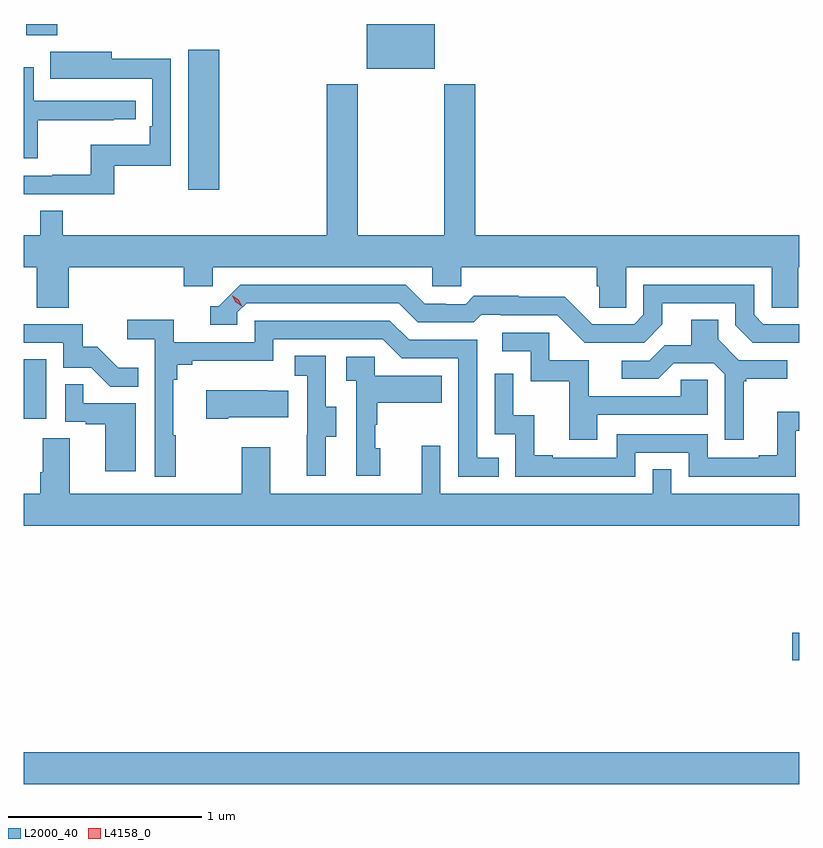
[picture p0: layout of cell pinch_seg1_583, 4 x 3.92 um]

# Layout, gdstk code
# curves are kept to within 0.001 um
import gdstk
lib = gdstk.Library(unit=1e-6, precision=1e-09)
def R(c, l, rs):  # rectangles x0, y0, x1, y1
    for r in rs: c.add(gdstk.rectangle(r[:2], r[2:], *l))
def P(c, l, *ps):  # polygons
    for p in ps: c.add(gdstk.Polygon(p, *l))
L2000_40 = (2000, 40)
L4158_0 = (4158, 0)

pinch_seg1_583 = lib.new_cell('pinch_seg1_583')
R(pinch_seg1_583, L2000_40, [(1018.514,509.108,1022.514,509.272), (1022.478,509.746,1022.514,509.888), (1018.514,510.99,1018.63,511.297), (1019.363,512.172,1019.524,512.893), (1020.284,512.795,1020.634,513.026), (1018.528,512.969,1018.688,513.026)])
P(pinch_seg1_583, L2000_40, [(1018.981,512.295),(1019.274,512.295),(1019.274,512.846),(1018.969,512.846),(1018.969,512.884),(1018.651,512.884),(1018.651,512.744),(1018.865,512.744),(1018.865,512.745),(1019.178,512.745),(1019.178,512.5),(1019.165,512.5),(1019.165,512.404),(1018.86,512.404),(1018.86,512.249),(1018.663,512.249),(1018.663,512.244),(1018.514,512.244),(1018.514,512.148),(1018.981,512.148)],
  [(1018.586,512.53),(1018.979,512.53),(1018.979,512.535),(1019.092,512.535),(1019.092,512.631),(1018.566,512.631),(1018.566,512.803),(1018.514,512.803),(1018.514,512.334),(1018.586,512.334)],
  [(1020.621,511.674),(1020.771,511.674),(1020.771,511.772),(1021.469,511.772),(1021.469,511.674),(1021.483,511.674),(1021.483,511.564),(1021.62,511.564),(1021.62,511.772),(1022.37,511.772),(1022.37,511.564),(1022.509,511.564),(1022.509,511.772),(1022.514,511.772),(1022.514,511.936),(1020.842,511.936),(1020.842,512.716),(1020.682,512.716),(1020.682,511.936),(1020.237,511.936),(1020.237,512.716),(1020.077,512.716),(1020.077,511.936),(1018.715,511.936),(1018.715,512.063),(1018.599,512.063),(1018.599,511.936),(1018.514,511.936),(1018.514,511.772),(1018.583,511.772),(1018.583,511.564),(1018.748,511.564),(1018.748,511.772),(1019.339,511.772),(1019.339,511.674),(1019.49,511.674),(1019.49,511.772),(1020.621,511.772)],
  [(1022.514,511.479),(1022.328,511.479),(1022.28,511.527),(1022.28,511.683),(1021.71,511.683),(1021.71,511.527),(1021.662,511.479),(1021.446,511.479),(1021.304,511.621),(1021.068,511.621),(1021.068,511.624),(1020.835,511.624),(1020.793,511.581),(1020.69,511.581),(1020.69,511.584),(1020.583,511.584),(1020.484,511.683),(1019.631,511.683),(1019.52,511.572),(1019.477,511.572),(1019.477,511.476),(1019.616,511.476),(1019.616,511.539),(1019.664,511.587),(1020.447,511.587),(1020.546,511.488),(1020.835,511.488),(1020.874,511.527),(1020.973,511.527),(1020.973,511.524),(1021.266,511.524),(1021.407,511.383),(1021.713,511.383),(1021.807,511.477),(1021.807,511.587),(1022.184,511.587),(1022.184,511.473),(1022.274,511.383),(1022.514,511.382)],
  [(1019.299,510.905),(1019.287,510.905),(1019.287,511.193),(1019.306,511.193),(1019.306,511.27),(1019.383,511.27),(1019.383,511.289),(1019.802,511.289),(1019.802,511.401),(1020.366,511.401),(1020.465,511.302),(1020.756,511.302),(1020.756,510.693),(1020.965,510.693),(1020.965,510.789),(1020.852,510.789),(1020.852,511.398),(1020.502,511.398),(1020.403,511.497),(1019.706,511.497),(1019.706,511.386),(1019.288,511.386),(1019.288,511.502),(1019.049,511.502),(1019.049,511.4),(1019.19,511.4),(1019.19,510.693),(1019.299,510.693)],
  [(1022.227,511.185),(1022.239,511.185),(1022.239,511.196),(1022.452,511.196),(1022.452,511.293),(1022.202,511.293),(1022.095,511.4),(1022.095,511.502),(1021.955,511.502),(1021.955,511.37),(1021.82,511.37),(1021.74,511.29),(1021.599,511.29),(1021.599,511.197),(1021.786,511.197),(1021.867,511.278),(1022.073,511.278),(1022.13,511.221),(1022.13,510.882),(1022.227,510.882)],
  [(1019.105,511.255),(1019.001,511.255),(1018.894,511.362),(1018.818,511.362),(1018.818,511.479),(1018.514,511.479),(1018.514,511.383),(1018.719,511.383),(1018.719,511.254),(1018.863,511.254),(1018.961,511.156),(1019.105,511.156)],
  [(1021.471,511.011),(1022.04,511.011),(1022.04,511.191),(1021.903,511.191),(1021.903,511.107),(1021.429,511.107),(1021.429,511.293),(1021.224,511.293),(1021.224,511.434),(1020.981,511.434),(1020.981,511.338),(1021.128,511.338),(1021.128,511.185),(1021.327,511.185),(1021.327,510.882),(1021.471,510.882)],
  [(1020.073,510.898),(1020.127,510.898),(1020.127,511.053),(1020.072,511.053),(1020.072,511.316),(1019.913,511.316),(1019.913,511.213),(1019.976,511.213),(1019.976,510.909),(1019.975,510.909),(1019.975,510.696),(1020.073,510.696)],
  [(1020.352,510.84),(1020.327,510.84),(1020.327,510.959),(1020.337,510.959),(1020.337,511.073),(1020.671,511.073),(1020.671,511.213),(1020.324,511.213),(1020.324,511.311),(1020.177,511.311),(1020.177,511.187),(1020.228,511.187),(1020.228,510.696),(1020.352,510.696)],
  [(1021.668,510.816),(1021.944,510.816),(1021.944,510.693),(1022.496,510.693),(1022.496,510.929),(1022.514,510.929),(1022.514,511.027),(1022.399,511.027),(1022.399,510.802),(1022.303,510.802),(1022.303,510.789),(1022.04,510.789),(1022.04,510.912),(1021.572,510.912),(1021.572,510.789),(1021.243,510.789),(1021.243,510.802),(1021.148,510.802),(1021.148,511.01),(1021.038,511.01),(1021.038,511.222),(1020.942,511.222),(1020.942,510.912),(1021.05,510.912),(1021.05,510.693),(1021.668,510.693)],
  [(1019.092,511.071),(1018.823,511.071),(1018.823,511.169),(1018.728,511.169),(1018.728,510.975),(1018.835,510.975),(1018.835,510.963),(1018.934,510.963),(1018.934,510.72),(1019.092,510.72)],
  [(1019.569,510.998),(1019.879,510.998),(1019.879,511.135),(1019.771,511.135),(1019.771,511.138),(1019.457,511.138),(1019.457,510.991),(1019.569,510.991)],
  [(1022.514,510.604),(1021.854,510.604),(1021.854,510.731),(1021.758,510.731),(1021.758,510.604),(1020.663,510.604),(1020.663,510.853),(1020.566,510.853),(1020.566,510.604),(1019.785,510.604),(1019.785,510.844),(1019.638,510.844),(1019.638,510.604),(1018.753,510.604),(1018.753,510.89),(1018.613,510.89),(1018.613,510.716),(1018.601,510.716),(1018.601,510.604),(1018.514,510.604),(1018.514,510.44),(1022.514,510.44)])
P(pinch_seg1_583, L4158_0, [(1019.639,511.572),(1019.608,511.591),(1019.591,511.624),(1019.591,511.624),(1019.592,511.624),(1019.623,511.604),(1019.639,511.572),(1019.639,511.572)])

lib.write_gds('pinch_seg1_583.gds')
